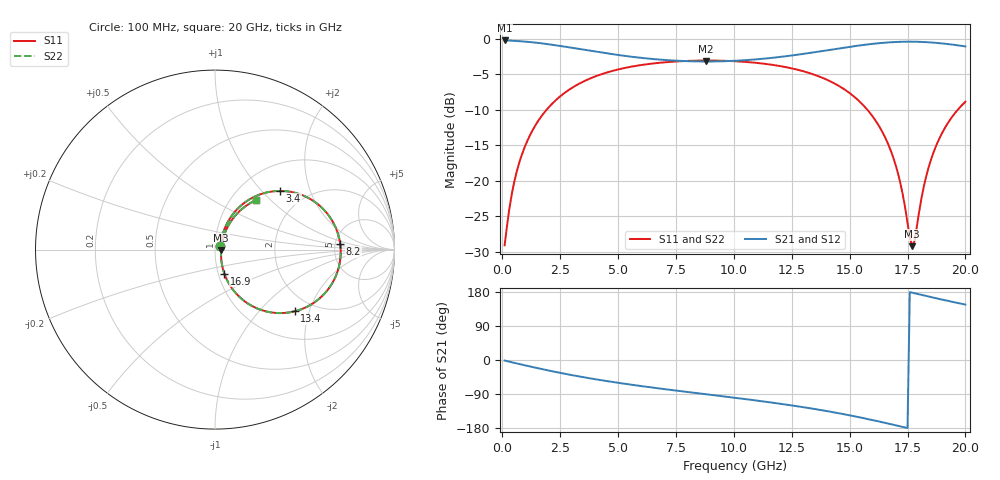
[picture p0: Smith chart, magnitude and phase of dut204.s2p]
! Touchstone file exported from HFSS 2026.1.0
!  File:  C:/ffzhzh/LocalFiles/Ansys_Project_Files/temp_train_TSV_RDL_204_1783060914_45820.aedt
!  Generated:  02:51:22 PM Jul  3, 2026
!  Design:  TSV_RDL
!  Project:  temp_train_TSV_RDL_204_1783060914_45820
! Variables:
!  h_bsmrdl = 2.5um
!  h_ox = 20um
!  h_rdl = 5um
!  h_sub = 50.7um
!  h_tmrdl = 5.52um
!  h_tsv = 50.7um
!  h_via = 3um
!  l_bsmrdl = 679.74um
!  l_sub = 3717.98um
!  l_tmrdl = 294.16um
!  m_sub = 200um
!  pitch = 59.65um
!  r_tsv = 9.62um
!  s_tmrdl = 10um
!  w_bsmrdl = 10.88um
!  w_sub = 500um
!  w_tmrdl = 23.16um
!  x_tsv_center1 = 305.74um
!  x_tsv_center2 = 996.36um
!  x_tsv_center3 = 1313.68um
!  x_tsv_center4 = 2004.3um
!  x_tsv_center5 = 2321.62um
!  x_tsv_center6 = 3012.24um
# GHz S MA R 50.000000
! Terminal data exported
! Port[1] = TM_RDL1_1_T1
! Port[2] = TM_RDL5_1_T1
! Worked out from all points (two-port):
!   200 points, 100 MHz to 20 GHz, reference 50 ohm
!   highest |S21| = -0.27 dB at 100 MHz (marker M1); lowest = -3.2 dB at 8.8 GHz (marker M2)
!   |S21| within 3 dB of the highest: start of sweep to end of sweep
!   lowest |S11| = -29.2 dB at 17.7 GHz (marker M3), VSWR 1.07, Z = 53.5 - j0.503 ohm
!   |S11| at or under -10 dB: start of sweep to 1.917 GHz; 15.76 GHz to 19.67 GHz (3.913 GHz wide, 22.1 % of centre)
!   |S22| runs from -29.3 to -3.1 dB; largest |S21 - S12| = 4.1e-14
!   S11 on the Smith chart (normalised r, x): 100 MHz: 1.06, +0.04; 3.4 GHz: 1.49, +1.28; 8.2 GHz: 5.54, +0.69; 13.4 GHz: 1.60, -1.61; 16.9 GHz: 1.07, -0.29; 20 GHz: 1.30, +0.83
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0.1  0.0351 30.2  0.9699 -1.5  0.9699 -1.5  0.0351 30.2
! Gamma 0 0 0 0
! Port Impedance 50 0 50 0
0.5  0.09538 63.4  0.9644 -7.3  0.9644 -7.3  0.09538 63.4
1.1  0.1936 64.4  0.9484 -15.8  0.9484 -15.8  0.1936 64.4
2.1  0.3412 55.4  0.9071 -29.0  0.9071 -29.0  0.3412 55.4
3.4  0.4889 42.0  0.8407 -44.3  0.8407 -44.3  0.4889 42.0
3.5  0.4982 41.0  0.8356 -45.4  0.8356 -45.4  0.4982 41.0
6.8  0.6758 12.8  0.7112 -75.3  0.7112 -75.3  0.6758 12.8
8.2  0.6981 2.6  0.6919 -85.9  0.6919 -85.9  0.6981 2.6
8.8  0.7006 -1.7  0.6899 -90.4  0.6899 -90.4  0.7006 -1.7
10.1  0.692 -11.0  0.6984 -100.1  0.6984 -100.1  0.692 -11.0
13.4  0.5623 -37.7  0.7978 -128.4  0.7978 -128.4  0.5623 -37.7
15.4  0.3647 -57.6  0.8934 -150.9  0.8934 -150.9  0.3647 -57.6
16.1  0.2678 -64.5  0.9222 -160.0  0.9222 -160.0  0.2678 -64.5
16.7  0.1752 -68.5  0.9403 -168.2  0.9403 -168.2  0.1751 -68.6
16.9  0.143 -68.7  0.9445 -171.0  0.9445 -171.0  0.143 -68.7
17.2  0.09483 -65.4  0.949 -175.2  0.949 -175.2  0.09477 -65.5
17.7  0.03461 -7.8  0.9509 177.6  0.9509 177.6  0.03443 -7.8
17.8  0.03757 18.1  0.9504 176.2  0.9504 176.2  0.03739 18.2
18.2  0.09028 56.8  0.9458 170.5  0.9458 170.5  0.09019 56.9
18.6  0.1543 60.9  0.9369 164.8  0.9369 164.8  0.1543 60.9
19.2  0.2479 57.8  0.9168 156.6  0.9168 156.6  0.2478 57.8
20  0.3596 50.2  0.8807 146.2  0.8807 146.2  0.3596 50.2
